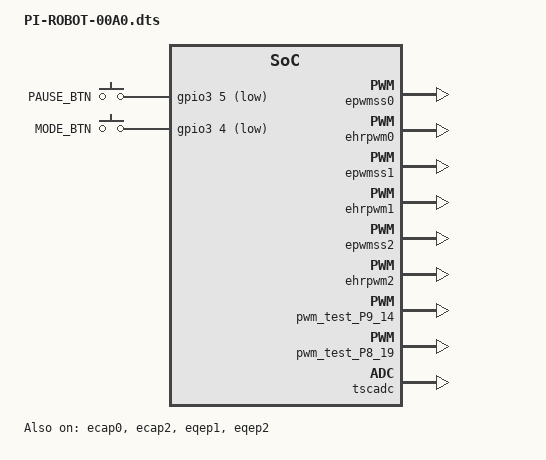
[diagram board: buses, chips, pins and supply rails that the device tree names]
/*
 * Device Tree Overlay para PI_Robot
 * Roy Araya 2015
 *
 */
 
/*

pinmux control byte map encontrado en datasheet BLABLABLA buscar DerekMolloy
Bit 5: 1 - Input, 0 - Output
Bit 4: 1 - Pull up, 0 - Pull down
Bit 3: 1 - Pull disabled, 0 - Pull enabled
Bit 2 \
Bit 1 |- Mode
Bit 0 /
 */
 
 /* Basado en Robotics_Cape de
  * Strawson Design 2013
  */
 
/dts-v1/;
/plugin/; 

/ {
    compatible = "ti,beaglebone-black";

    /* identification */
    part-number = "PI-ROBOT";

    /* version */
    version = "00A0";
	
	exclusive-use =
		"P8.7",		/*LED_RED*/
		"P8.8",		/*LED_GRN*/
		"P8.9",		/*PAUSE_BTN*/
		"P8.10",	/*MODE_BTN*/
		
		"P8.11",	/*QEP_2B*/
		"P8.12",	/*QEP_2A*/
		"eqep2",
		
		"P8.14",	/*LED_1*/
		"P8.15",	/*LED_2*/
		"P8.16",	/*LED_3*/
		"P8.17",	/*LED_4*/
		
		"P8.19",	/*PWM_2A*/
		"ehrpwm2A", 
		
		
		"P8.35",	/*QEP_1A*/
		"P8.33",	/*QEP_1B*/
		"eqep1", 
		
		"P8.38",	/*MDIR_2B*/
		
		/*
		
		*/
		 
		"P9.12",	/*MDIR_1A*/
		"P9.13",	/*MDIR_1B*/
				
		"P9.14",	/*PWM_1A*/
		"ehrpwm1A",
		
		"P9.15",	/*MDIR_2A*/
		
		"P9.25",	/*IMU_INT*/

		
		"P9.35", 	/*V_DIV_BAT*/
		"P9.36", 	/*V_DIV_DC*/
		"tscadc",
		
		
		"P9.41",	/*MOT_STBY*/		
		
	
    fragment@0 {
		target = <&am33xx_pinmux>;
		__overlay__ {
			/****************************************/
			/* 			PWM pinmux					*/
			/****************************************/
			pwm_P9_14: pinmux_pwm_P9_14_pins {
				pinctrl-single,pins = <0x048  0x6>; /* P9_14 (ZCZ ball U14) | MODE 6 */
			};
			pwm_P8_19: pinmux_pwm_P8_19_pins {
				pinctrl-single,pins = <0x020  0x4>; /* P8_19 (ZCZ ball U10) | MODE 4 */
			};


			/****************************************/
			/* 			eQEP pinmux					*/
			/****************************************/
			pinctrl_eqep1: pinctrl_eqep1_pins {
                pinctrl-single,pins = <					 				   
					0x0D4 0x32  /* P8_33 = GPIO0_9 = EQEP1B_in, MODE2 */
					0x0D0 0x32  /* P8_35 = GPIO0_8 = EQEP1A_in, MODE2 */
                >;
            };	
			pinctrl_eqep2: pinctrl_eqep2_pins {
                pinctrl-single,pins = <					 				   
					0x030 0x3C  /* P8_12 = EQEP2A_in, MODE4 */
					0x034 0x3C  /* P8_11 = EQEP2B_in, MODE4 */
                >;
            };
			

			/****************************************/
			/* 		GPIO interrupt pinmux			*/
			/****************************************/
			interrupt_pins: pinmux_interrupt_pins{
				pinctrl-single,pins = <
					0x09c 0x37	/*P8.9  Pause BUTTON, input pullup*/
					0x098 0x37	/*P8.10 MODE BUTTON input pullup*/
					0x1AC 0x37	/*P9.25 MPU-9150 INTERRUPT IN*/
				>;
			};
			
			/****************************************/
			/* 		GPIO output pinmux				*/
			/****************************************/
			gpio_helper_pins: pinmux_gpio_helper_pins {
				pinctrl-single,pins = <
					0x090 0x0F	/*P8.7 MODE7 | OUTPUT*/
					0x094 0x0F	/*P8.8 LED_GRN*/
					0x028 0x0F	/*P8.14 LED_1*/
					0x03C 0x0F	/*P8.15 LED_2*/
					0x038 0x0F	/*P8.16 LED_3*/
					0x02C 0x0F	/*P8.17 LED_4*/
					0x0c4 0x0F	/*P8.38 MDIR_2B*/
								
					0x078 0x0F	/*P9.12 MDIR_1A*/
					0x074 0x0F	/*P9.13 MDIR_1B*/
					0x040 0x0F	/*P9.15 MDIR_2A*/
					0x1b4 0x0F	/*P9.41 MOT_STBY*/
				>;
			};			
		};
	};

	fragment@1 {
		target = <&epwmss0>;
		__overlay__ {
			status = "okay";
		};
	};

	fragment@2 {
		target = <&ehrpwm0>;
		__overlay__ {
			status = "okay";
		};
	};

	fragment@3 {
		target = <&ecap0>;
		__overlay__ {
			status = "okay";
		};
	};

	fragment@4 {
		target = <&epwmss1>;
		__overlay__ {
			status = "okay";
		};
	};

	fragment@5 {
		target = <&ehrpwm1>;
		__overlay__ {
			status = "okay";
		};
	};

	fragment@6 {
		target = <&epwmss2>;
		__overlay__ {
			status = "okay";
		};
	};

	fragment@7 {
		target = <&ehrpwm2>;
		__overlay__ {
			status = "okay";
		};
	};

	fragment@8 {
		target = <&ecap2>;
		__overlay__ {
			status = "okay";
		};
	};
	
	fragment@9 {
		target = <&ocp>;
		__overlay__ {
			pwm_test_P9_14 {
				compatible	= "pwm_test";
				pwms 		= <&ehrpwm1 0 25000 1>;
				pwm-names 	= "PWM_P9_14";
			    pinctrl-names	= "default";
			    pinctrl-0	= <&pwm_P9_14>;
				enabled		= <1>;
				duty		= <0>;
				status 		= "okay";
			};
		};
	};

	fragment@10 {
		target = <&ocp>;
		__overlay__ {
			pwm_test_P8_19 {
				compatible	= "pwm_test";
				pwms 		= <&ehrpwm2 0 25000 1>;
				pwm-names 	= "PWM_P8_19";

				pinctrl-names	= "default";
				pinctrl-0	= <&pwm_P8_19>;

				enabled		= <1>;
				duty		= <0>;
				status 		= "okay";
			};
		};
	};
	
	fragment@11 {
		target = <&ocp>;
		__overlay__ {
			/* avoid stupid warning */
			#address-cells = <1>;
			#size-cells = <1>;

			tscadc {
				compatible = "ti,ti-tscadc";
				reg = <0x44e0d000 0x1000>;

				interrupt-parent = <&intc>;
				interrupts = <16>;
				ti,hwmods = "adc_tsc";
				status = "okay";

				adc {
					ti,adc-channels = <0 1 2 3 4 5 6 7>;
				};
			};

			test_helper: helper {
				compatible = "bone-iio-helper";
				vsense-name  = "AIN0", "AIN1", "AIN2", "AIN3", "AIN4", "AIN5", "AIN6", "AIN7";
				vsense-scale = <100     100     100     100     100     100     100     100>;
				status = "okay";
			};
		};
	};
	
	
	fragment@12 {
        target = <&ocp>;
        __overlay__ {            
            #address-cells = <1>;
            #size-cells = <1>;                            

            gpio_keys {
                compatible = "gpio-keys";
                pinctrl-names = "default";
                pinctrl-0 = <&interrupt_pins>;
                #address-cells = <1>;
                #size-cells = <0>;

                switch_x1 {
                    label = "PAUSE_BTN";
                    debounce_interval = <50>;
                    linux,code = <1>;
                    gpios = <&gpio3 5 0x5>; /* really gpio_2[5] */
                    gpio-key,wakeup;
                };                
                switch_x2 {
                    label = "MODE_BTN";
                    debounce_interval = <50>;
                    linux,code = <2>;
                    gpios = <&gpio3 4 0x5>; /*really gpio_2[4]*/
                    gpio-key,wakeup;
                };  
            };
        };
    };

    
    fragment@13 {
    	target = <&eqep1>;
    	__overlay__ {
            pinctrl-names = "default";
            pinctrl-0 = <&pinctrl_eqep1>;
            
            count_mode = <0>;  /* 0 - Quadrature mode, normal 90 phase offset cha & chb.  1 - Direction mode.  cha input = clock, chb input = direction */
            swap_inputs = <0>; /* Are channel A and channel B swapped? (0 - no, 1 - yes) */
            invert_qa = <1>;   /* Should we invert the channel A input?  */
            invert_qb = <1>;   /* Should we invert the channel B input? I invert these because my encoder outputs drive transistors that pull down the pins */
            invert_qi = <0>;   /* Should we invert the index input? */
            invert_qs = <0>;   /* Should we invert the strobe input? */
            
	        status = "okay";
    	};
    };

    fragment@14 {
    	target = <&eqep2>;
    	__overlay__ {
            pinctrl-names = "default";
            pinctrl-0 = <&pinctrl_eqep2>;
            
            count_mode = <0>;  /* 0 - Quadrature mode, normal 90 phase offset cha & chb.  1 - Direction mode.  cha input = clock, chb input = direction */
            swap_inputs = <0>; /* Are channel A and channel B swapped? (0 - no, 1 - yes) */
            invert_qa = <1>;   /* Should we invert the channel A input?  */
            invert_qb = <1>;   /* Should we invert the channel B input? I invert these because my encoder outputs drive transistors that pull down the pins */
            invert_qi = <0>;   /* Should we invert the index input? */
            invert_qs = <0>;   /* Should we invert the strobe input? */
            
	        status = "okay";
    	};
    };
};
